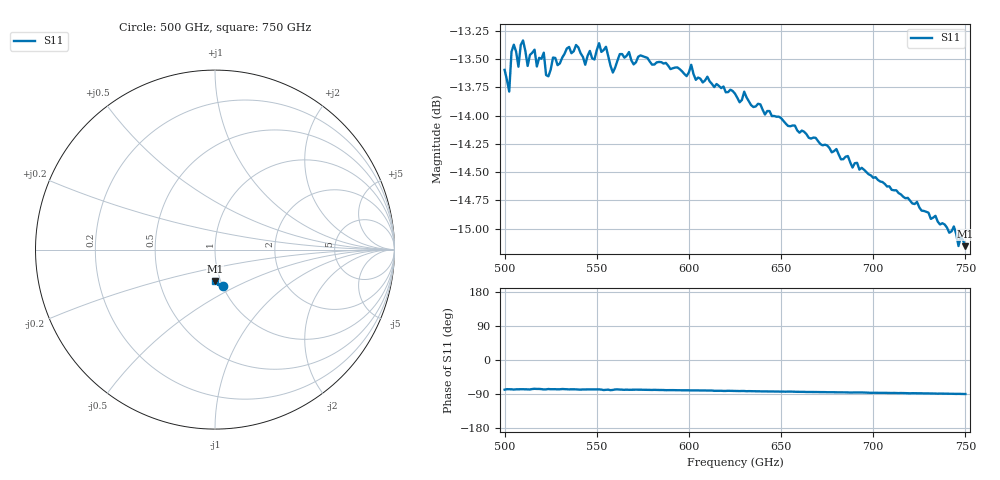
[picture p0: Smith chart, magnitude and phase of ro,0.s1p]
!Created with mwavepy.
# GHz S RI R 50.0
!freq	ReS11	ImS11
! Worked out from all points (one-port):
!   201 points, 500 GHz to 750 GHz, reference 50 ohm
!   lowest |S11| = -15.2 dB at 750 GHz (marker M1), VSWR 1.42, Z = 47.1 - j17 ohm
!   |S11| at or under -10 dB: start of sweep to end of sweep
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500  0.0422 -0.2047
! Port Impedance 50.00000000000000 0.00000000000000
502.5  0.0457 -0.1993
503.75  0.0466 -0.2077
505  0.0447 -0.2097
507.5  0.0464 -0.2045
510  0.048 -0.2099
512.5  0.0442 -0.2051
516.25  0.0516 -0.207
517.5  0.0495 -0.2038
521.25  0.0458 -0.2077
522.5  0.045 -0.203
523.75  0.0482 -0.202
526.25  0.0476 -0.2062
531.25  0.0491 -0.2058
538.75  0.0465 -0.2093
543.75  0.0447 -0.2053
551.25  0.0465 -0.2097
555  0.0421 -0.2098
558.75  0.0401 -0.2045
562.5  0.0443 -0.2077
593.75  0.0372 -0.2062
625  0.0286 -0.202
656.25  0.0221 -0.1963
687.5  0.0136 -0.1898
718.75  0.00767 -0.1833
743.75  0.00183 -0.1782
746.25  0.00206 -0.1747
750  0.000567 -0.1747
